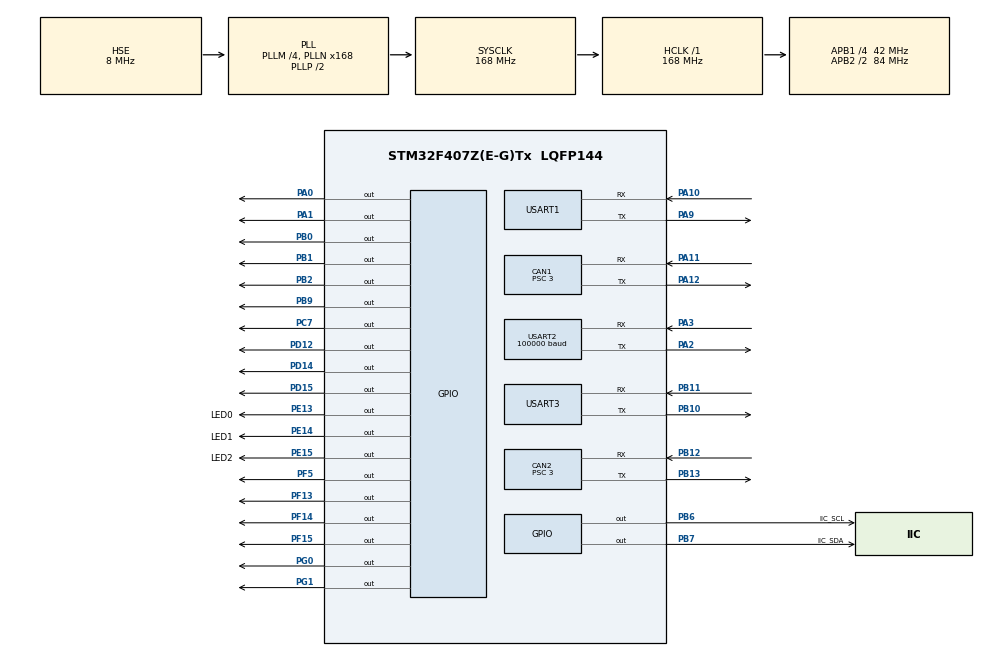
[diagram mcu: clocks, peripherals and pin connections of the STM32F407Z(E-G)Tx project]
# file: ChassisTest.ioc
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CAN1.ABOM=ENABLE
CAN1.BS1=CAN_BS1_9TQ
CAN1.BS2=CAN_BS2_4TQ
CAN1.CalculateTimeQuantum=71.42857142857143
CAN1.Prescaler=3
CAN2.ABOM=ENABLE
CAN2.BS1=CAN_BS1_9TQ
CAN2.BS2=CAN_BS2_4TQ
CAN2.CalculateTimeQuantum=71.42857142857143
CAN2.Prescaler=3
Dma.Request0=USART2_RX
Dma.Request1=USART3_RX
Dma.Request2=USART3_TX
Dma.USART2_RX.0.Direction=DMA_PERIPH_TO_MEMORY
Dma.USART2_RX.0.FIFOMode=DMA_FIFOMODE_DISABLE
Dma.USART2_RX.0.Instance=DMA1_Stream5
Dma.USART2_RX.0.MemDataAlignment=DMA_MDATAALIGN_BYTE
Dma.USART2_RX.0.MemInc=DMA_MINC_ENABLE
Dma.USART2_RX.0.Mode=DMA_NORMAL
Dma.USART2_RX.0.PeriphDataAlignment=DMA_PDATAALIGN_BYTE
Dma.USART2_RX.0.PeriphInc=DMA_PINC_DISABLE
Dma.USART2_RX.0.Priority=DMA_PRIORITY_LOW
Dma.USART3_RX.1.Direction=DMA_PERIPH_TO_MEMORY
Dma.USART3_RX.1.FIFOMode=DMA_FIFOMODE_DISABLE
Dma.USART3_RX.1.Instance=DMA1_Stream1
Dma.USART3_RX.1.MemDataAlignment=DMA_MDATAALIGN_BYTE
Dma.USART3_RX.1.MemInc=DMA_MINC_ENABLE
Dma.USART3_RX.1.Mode=DMA_NORMAL
Dma.USART3_RX.1.PeriphDataAlignment=DMA_PDATAALIGN_BYTE
Dma.USART3_RX.1.PeriphInc=DMA_PINC_DISABLE
Dma.USART3_RX.1.Priority=DMA_PRIORITY_LOW
Dma.USART3_TX.2.Direction=DMA_MEMORY_TO_PERIPH
Dma.USART3_TX.2.FIFOMode=DMA_FIFOMODE_DISABLE
Dma.USART3_TX.2.Instance=DMA1_Stream3
Dma.USART3_TX.2.MemDataAlignment=DMA_MDATAALIGN_BYTE
Dma.USART3_TX.2.MemInc=DMA_MINC_ENABLE
Dma.USART3_TX.2.Mode=DMA_NORMAL
Dma.USART3_TX.2.PeriphDataAlignment=DMA_PDATAALIGN_BYTE
Dma.USART3_TX.2.PeriphInc=DMA_PINC_DISABLE
Dma.USART3_TX.2.Priority=DMA_PRIORITY_LOW
Mcu.Family=STM32F4
Mcu.Name=STM32F407Z(E-G)Tx
Mcu.Package=LQFP144
NVIC.CAN1_RX0_IRQn=true\:0\:0\:false\:false\:true\:true\:true
NVIC.CAN1_TX_IRQn=true\:0\:0\:false\:false\:true\:true\:true
NVIC.CAN2_RX0_IRQn=true\:0\:0\:false\:false\:true\:true\:true
NVIC.CAN2_TX_IRQn=true\:0\:0\:false\:false\:true\:true\:true
NVIC.DMA1_Stream1_IRQn=true\:0\:0\:false\:false\:true\:false\:true
NVIC.DMA1_Stream3_IRQn=true\:0\:0\:false\:false\:true\:false\:true
NVIC.DMA1_Stream5_IRQn=true\:0\:0\:false\:false\:true\:false\:true
NVIC.PriorityGroup=NVIC_PRIORITYGROUP_4
NVIC.TIM3_IRQn=true\:0\:0\:false\:false\:true\:true\:true
NVIC.TIM5_IRQn=true\:0\:0\:false\:false\:true\:true\:true
NVIC.TIM7_IRQn=true\:0\:0\:false\:false\:true\:true\:true
NVIC.USART1_IRQn=true\:0\:0\:false\:false\:true\:true\:true
NVIC.USART2_IRQn=true\:0\:0\:false\:false\:true\:true\:true
NVIC.USART3_IRQn=true\:0\:0\:false\:false\:true\:true\:true
PA0-WKUP.Signal=GPIO_Output
PA1.Signal=GPIO_Output
PA10.Mode=Asynchronous
PA10.Signal=USART1_RX
PA11.Mode=Master
PA11.Signal=CAN1_RX
PA12.Mode=Master
PA12.Signal=CAN1_TX
PA13.Mode=Serial_Wire
PA13.Signal=SYS_JTMS-SWDIO
PA14.Mode=Serial_Wire
PA14.Signal=SYS_JTCK-SWCLK
PA2.Mode=Asynchronous
PA2.Signal=USART2_TX
PA3.Mode=Asynchronous
PA3.Signal=USART2_RX
PA9.Mode=Asynchronous
PA9.Signal=USART1_TX
PB0.Signal=GPIO_Output
PB1.Signal=GPIO_Output
PB10.Mode=Asynchronous
PB10.Signal=USART3_TX
PB11.Mode=Asynchronous
PB11.Signal=USART3_RX
PB12.Mode=Slave
PB12.Signal=CAN2_RX
PB13.Mode=Slave
PB13.Signal=CAN2_TX
PB2.Signal=GPIO_Output
PB6.GPIO_Label=IIC_SCL
PB6.GPIO_PuPd=GPIO_PULLUP
PB6.GPIO_Speed=GPIO_SPEED_FREQ_HIGH
PB6.Signal=GPIO_Output
PB7.GPIO_Label=IIC_SDA
PB7.GPIO_PuPd=GPIO_PULLUP
PB7.GPIO_Speed=GPIO_SPEED_FREQ_HIGH
PB7.Signal=GPIO_Output
PB9.Signal=GPIO_Output
PC7.Signal=GPIO_Output
PD12.Signal=GPIO_Output
PD14.Signal=GPIO_Output
PD15.Signal=GPIO_Output
PE13.GPIO_Label=LED0
PE13.GPIO_PuPd=GPIO_PULLUP
PE13.PinState=GPIO_PIN_SET
PE13.Signal=GPIO_Output
PE14.GPIO_Label=LED1
PE14.GPIO_PuPd=GPIO_PULLUP
PE14.PinState=GPIO_PIN_SET
PE14.Signal=GPIO_Output
PE15.GPIO_Label=LED2
PE15.GPIO_PuPd=GPIO_PULLUP
PE15.PinState=GPIO_PIN_SET
PE15.Signal=GPIO_Output
PF13.Signal=GPIO_Output
PF14.Signal=GPIO_Output
PF15.Signal=GPIO_Output
PF5.Signal=GPIO_Output
PG0.Signal=GPIO_Output
PG1.Signal=GPIO_Output
PH0-OSC_IN.Mode=HSE-External-Oscillator
PH0-OSC_IN.Signal=RCC_OSC_IN
PH1-OSC_OUT.Mode=HSE-External-Oscillator
PH1-OSC_OUT.Signal=RCC_OSC_OUT
ProjectManager.HeapSize=0x200
ProjectManager.StackSize=0x400
ProjectManager.TargetToolchain=MDK-ARM V5
RCC.48MHZClocksFreq_Value=84000000
RCC.AHBFreq_Value=168000000
RCC.APB1CLKDivider=RCC_HCLK_DIV4
RCC.APB1Freq_Value=42000000
RCC.APB1TimFreq_Value=84000000
RCC.APB2CLKDivider=RCC_HCLK_DIV2
RCC.APB2Freq_Value=84000000
RCC.APB2TimFreq_Value=168000000
RCC.CortexFreq_Value=168000000
RCC.HCLKFreq_Value=168000000
RCC.HSE_VALUE=8000000
RCC.HSI_VALUE=16000000
RCC.LSE_VALUE=32768
RCC.PLLM=4
RCC.PLLN=168
RCC.PLLSourceVirtual=RCC_PLLSOURCE_HSE
RCC.SYSCLKFreq_VALUE=168000000
RCC.SYSCLKSource=RCC_SYSCLKSOURCE_PLLCLK
RCC.VCOOutputFreq_Value=336000000
TIM3.Period=1000-1
TIM3.Prescaler=84-1
TIM5.Period=5000-1
TIM5.Prescaler=8400-1
TIM7.Period=1000
TIM7.Prescaler=8400
USART1.VirtualMode=VM_ASYNC
USART2.BaudRate=100000
USART2.Parity=PARITY_EVEN
USART2.VirtualMode=VM_ASYNC
USART3.VirtualMode=VM_ASYNC
VP_TIM3_VS_ClockSourceINT.Mode=Internal
VP_TIM5_VS_ClockSourceINT.Mode=Internal
VP_TIM7_VS_ClockSourceINT.Mode=Enable_Timer
board=custom

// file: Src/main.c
/* USER CODE BEGIN Header */
/**
  ******************************************************************************
  * @file           : main.c
  * @brief          : Main program body
  ******************************************************************************
  * @attention
  *
  * <h2><center>&copy; Copyright (c) 2019 STMicroelectronics.
  * All rights reserved.</center></h2>
  *
  * This software component is licensed by ST under BSD 3-Clause license,
  * the "License"; You may not use this file except in compliance with the
  * License. You may obtain a copy of the License at:
  *                        opensource.org/licenses/BSD-3-Clause
  *
  ******************************************************************************
  */
/* USER CODE END Header */

#include "main.h"
#include "can.h"
#include "dma.h"
#include "tim.h"
#include "usart.h"
#include "gpio.h"

/* USER CODE BEGIN Includes */

#include "RC_Task.h"
#include "CanBus_Task.h"
#include "APPInteraction.h"
#include "ChassisControl.h"
#include "Ano_Dt.h"
#include "stdio.h"
#include "ControlTask.h"
#include "Paraminit.h"
#include "ramp.h"
#include "CatchingTask.h"
#include "DataScope_DP.h"
#include "Rescue_Task.h"
#include "Vision_interact.h"
#include "GimbalControl.h"
/* USER CODE END Includes */

void SystemClock_Config(void);

int main(void)
{

  /* MCU Configuration--------------------------------------------------------*/

  /* Reset of all peripherals, Initializes the Flash interface and the Systick. */
  HAL_Init();

  /* Configure the system clock */
  SystemClock_Config();

  /* Initialize all configured peripherals */
  MX_GPIO_Init();
  MX_DMA_Init();
  MX_CAN1_Init();
  MX_TIM3_Init();
  MX_TIM7_Init();
  MX_USART1_UART_Init();
  MX_USART2_UART_Init();
  MX_CAN2_Init();
  MX_TIM5_Init();
  MX_USART3_UART_Init();
  /* USER CODE BEGIN 2 */
  HAL_UART_Receive_IT_IDLE(&huart2,UART_Buffer,100);   /*启动串口空闲中断，用于接收遥控器发来的数据*/
  HAL_TIM_Base_Start_IT(&htim3);  //使能TIM3中断，溢出时间为1ms
  HAL_TIM_Base_Start_IT(&htim5); //使能TIM5中断，溢出时间为500ms
  CANFilterInit();     /*CAN滤波器的配置和开启CAN通信*/
  APPInteractionInit(); /*初始化调试组件*/
  ParamInit();
  HAL_UART3_Receive_IT_IDLE();//视觉串口DMA空闲开启中断
  /* USER CODE END 2 */

  /* Infinite loop */
  while (1)
  {

    /* USER CODE BEGIN 3 */

      AllTask();

  }
  /* USER CODE END 3 */
}

void SystemClock_Config(void)
{
  RCC_OscInitTypeDef RCC_OscInitStruct = {0};
  RCC_ClkInitTypeDef RCC_ClkInitStruct = {0};

  /** Configure the main internal regulator output voltage
  */
  __HAL_RCC_PWR_CLK_ENABLE();
  __HAL_PWR_VOLTAGESCALING_CONFIG(PWR_REGULATOR_VOLTAGE_SCALE1);
  /** Initializes the CPU, AHB and APB busses clocks
  */
  RCC_OscInitStruct.OscillatorType = RCC_OSCILLATORTYPE_HSE;
  RCC_OscInitStruct.HSEState = RCC_HSE_ON;
  RCC_OscInitStruct.PLL.PLLState = RCC_PLL_ON;
  RCC_OscInitStruct.PLL.PLLSource = RCC_PLLSOURCE_HSE;
  RCC_OscInitStruct.PLL.PLLM = 4;
  RCC_OscInitStruct.PLL.PLLN = 168;
  RCC_OscInitStruct.PLL.PLLP = RCC_PLLP_DIV2;
  RCC_OscInitStruct.PLL.PLLQ = 4;
  if (HAL_RCC_OscConfig(&RCC_OscInitStruct) != HAL_OK)
  {
    Error_Handler();
  }
  /** Initializes the CPU, AHB and APB busses clocks
  */
  RCC_ClkInitStruct.ClockType = RCC_CLOCKTYPE_HCLK|RCC_CLOCKTYPE_SYSCLK
                              |RCC_CLOCKTYPE_PCLK1|RCC_CLOCKTYPE_PCLK2;
  RCC_ClkInitStruct.SYSCLKSource = RCC_SYSCLKSOURCE_PLLCLK;
  RCC_ClkInitStruct.AHBCLKDivider = RCC_SYSCLK_DIV1;
  RCC_ClkInitStruct.APB1CLKDivider = RCC_HCLK_DIV4;
  RCC_ClkInitStruct.APB2CLKDivider = RCC_HCLK_DIV2;

  if (HAL_RCC_ClockConfig(&RCC_ClkInitStruct, FLASH_LATENCY_5) != HAL_OK)
  {
    Error_Handler();
  }
}

/* USER CODE BEGIN 4 */
void HAL_TIM_PeriodElapsedCallback(TIM_HandleTypeDef *htim)
{
    static uint16_t ms1 = 0,ms2 = 0,ms3 = 0,ms4 = 0,ms50 = 0;
    if(htim->Instance == TIM3)
    {
        ms1++;
        ms2++;
		ms3++;
        ms50++;
        gimbal_delay++;//云台按键防误触延时
        rescue_delay++;//救援按键延时
        rescue_in_delay++;//刷卡步骤延时(缩入)
        rescue_out_delay++;//刷卡步骤延时(伸出)
        catching_reset_delay++;//夹取复位所用延时
        conversion_delay++;//兑换矿石所用三位五通气阀延时
        z_group_set_delay++;//按键消抖
        x_group_set_delay++;//按键消抖
        c_group_set_delay++;//按键消抖
        if(ms1 >= 1)
        {
            ms1 = 0;
            Control_Ctrl = 1;
        }
        if(ms2 >= 2)
        {
            ms2 = 0;
            vision_send_flag = 1;
            Data_Send_ANO_DT = 1;
        }
	   if(ms3 >= 100)
        {
            ms3 = 0;
            delay_100ms  = 1;
        }
        if(ms50 >= 50)
        {
            ms50 = 0;
            Data_Scope_DP_Send = 1;
        }

    }
		if(htim->Instance == TIM5)
		{

            ms4++;
            flip_box_delay++;
            rotational_delay++;

            swip_card_ctrl_delay++;//刷卡组合按键防误触
            rescue_ctrl_delay++;//救援组合按键防误触
            KEY_CTRL_A_count++;//消抖
            KEY_A_count++;      //消抖
            catching_island_delay++;//夹取资源岛上矿石所用延时
            chassis_pos_delay++;
          if(ms4 >= 6)
          {
             ms4 = 0;
             delay_3000ms = 1;//用于抬升机构复合键消抖
          }
		}
}
/* USER CODE END 4 */

void Error_Handler(void)
{
}

/************************ (C) COPYRIGHT STMicroelectronics *****END OF FILE****/
